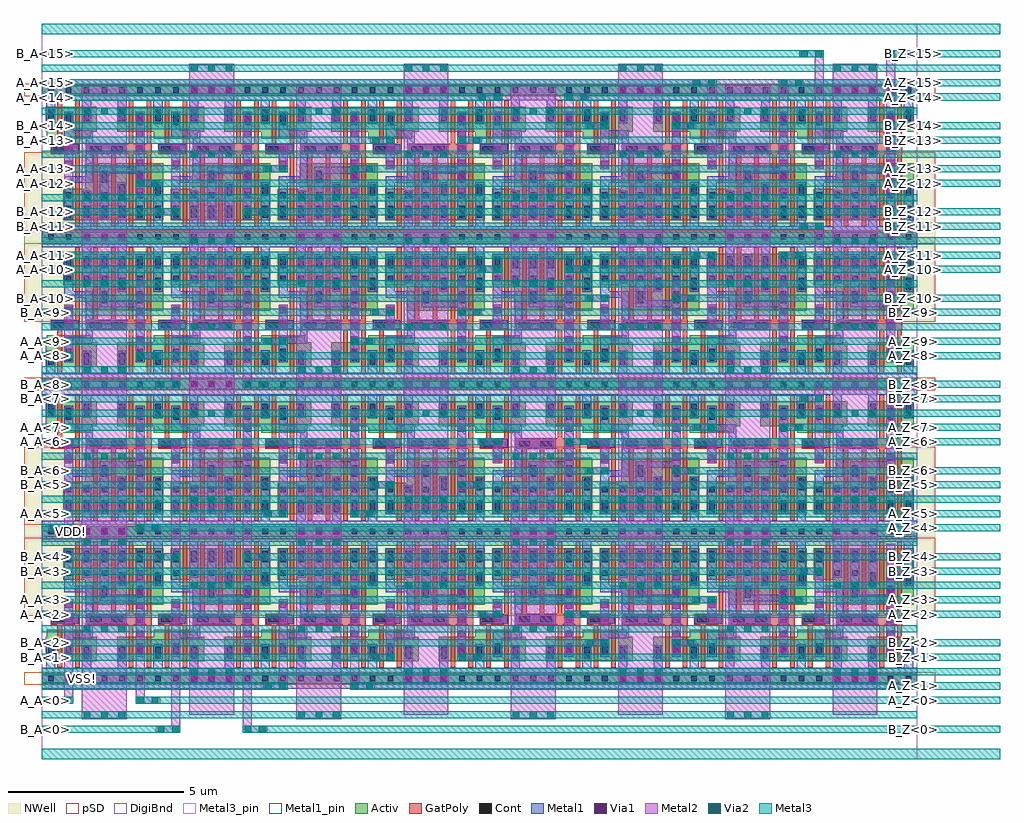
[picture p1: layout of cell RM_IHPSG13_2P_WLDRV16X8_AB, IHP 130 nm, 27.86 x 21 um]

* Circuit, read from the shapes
.subckt RM_IHPSG13_2P_WLDRV16X8_AB A_A<0> A_A<10> A_A<11> A_A<12> A_A<13> A_A<14> A_A<15> A_A<1> A_A<2> A_A<3> A_A<4> A_A<5> A_A<6> A_A<7> A_A<8> A_A<9> A_Z<0> A_Z<10> A_Z<11> A_Z<12> A_Z<13> A_Z<14> A_Z<15> A_Z<1> A_Z<2> A_Z<3> A_Z<4> A_Z<5> A_Z<6> A_Z<7> A_Z<8> A_Z<9> B_A<0> B_A<10> B_A<11> B_A<12> B_A<13> B_A<14> B_A<15> B_A<1> B_A<2> B_A<3> B_A<4> B_A<5> B_A<6> B_A<7> B_A<8> B_A<9> B_Z<0> B_Z<10> B_Z<11> B_Z<12> B_Z<13> B_Z<14> B_Z<15> B_Z<1> B_Z<2> B_Z<3> B_Z<4> B_Z<5> B_Z<6> B_Z<7> B_Z<8> B_Z<9> VDD! VSS!
XM1 n1 A_A<0> VSS! VSS! sg13_lv_nmos w=0.9u l=0.13u m=2
XM2 n2 A_A<4> VSS! VSS! sg13_lv_nmos w=0.9u l=0.13u m=2
XM3 n3 A_A<8> VSS! VSS! sg13_lv_nmos w=0.9u l=0.13u m=2
XM4 n4 A_A<12> VSS! VSS! sg13_lv_nmos w=0.9u l=0.13u m=2
XM5 A_Z<0> n1 VSS! VSS! sg13_lv_nmos w=0.705u l=0.13u m=2
XM6 A_Z<4> n2 VSS! VSS! sg13_lv_nmos w=0.705u l=0.13u m=2
XM7 A_Z<8> n3 VSS! VSS! sg13_lv_nmos w=0.705u l=0.13u m=2
XM8 A_Z<12> n4 VSS! VSS! sg13_lv_nmos w=0.705u l=0.13u m=2
XM9 n5 B_A<0> VSS! VSS! sg13_lv_nmos w=0.9u l=0.13u m=2
XM10 n6 B_A<4> VSS! VSS! sg13_lv_nmos w=0.9u l=0.13u m=2
XM11 n7 B_A<8> VSS! VSS! sg13_lv_nmos w=0.9u l=0.13u m=2
XM12 n8 B_A<12> VSS! VSS! sg13_lv_nmos w=0.9u l=0.13u m=2
XM13 B_Z<0> n5 VSS! VSS! sg13_lv_nmos w=0.705u l=0.13u m=2
XM14 B_Z<4> n6 VSS! VSS! sg13_lv_nmos w=0.705u l=0.13u m=2
XM15 B_Z<8> n7 VSS! VSS! sg13_lv_nmos w=0.705u l=0.13u m=2
XM16 B_Z<12> n8 VSS! VSS! sg13_lv_nmos w=0.705u l=0.13u m=2
XM17 n9 A_A<1> VSS! VSS! sg13_lv_nmos w=0.9u l=0.13u m=2
XM18 n10 A_A<5> VSS! VSS! sg13_lv_nmos w=0.9u l=0.13u m=2
XM19 n11 A_A<9> VSS! VSS! sg13_lv_nmos w=0.9u l=0.13u m=2
XM20 n12 A_A<13> VSS! VSS! sg13_lv_nmos w=0.9u l=0.13u m=2
XM21 A_Z<1> n9 VSS! VSS! sg13_lv_nmos w=0.705u l=0.13u m=2
XM22 A_Z<5> n10 VSS! VSS! sg13_lv_nmos w=0.705u l=0.13u m=2
XM23 A_Z<9> n11 VSS! VSS! sg13_lv_nmos w=0.705u l=0.13u m=2
XM24 A_Z<13> n12 VSS! VSS! sg13_lv_nmos w=0.705u l=0.13u m=2
XM25 n13 B_A<1> VSS! VSS! sg13_lv_nmos w=0.9u l=0.13u m=2
XM26 n14 B_A<5> VSS! VSS! sg13_lv_nmos w=0.9u l=0.13u m=2
XM27 n15 B_A<9> VSS! VSS! sg13_lv_nmos w=0.9u l=0.13u m=2
XM28 n16 B_A<13> VSS! VSS! sg13_lv_nmos w=0.9u l=0.13u m=2
XM29 B_Z<1> n13 VSS! VSS! sg13_lv_nmos w=0.705u l=0.13u m=2
XM30 B_Z<5> n14 VSS! VSS! sg13_lv_nmos w=0.705u l=0.13u m=2
XM31 B_Z<9> n15 VSS! VSS! sg13_lv_nmos w=0.705u l=0.13u m=2
XM32 B_Z<13> n16 VSS! VSS! sg13_lv_nmos w=0.705u l=0.13u m=2
XM33 n17 A_A<2> VSS! VSS! sg13_lv_nmos w=0.9u l=0.13u m=2
XM34 n18 A_A<6> VSS! VSS! sg13_lv_nmos w=0.9u l=0.13u m=2
XM35 n19 A_A<10> VSS! VSS! sg13_lv_nmos w=0.9u l=0.13u m=2
XM36 n20 A_A<14> VSS! VSS! sg13_lv_nmos w=0.9u l=0.13u m=2
XM37 A_Z<2> n17 VSS! VSS! sg13_lv_nmos w=0.705u l=0.13u m=2
XM38 A_Z<6> n18 VSS! VSS! sg13_lv_nmos w=0.705u l=0.13u m=2
XM39 A_Z<10> n19 VSS! VSS! sg13_lv_nmos w=0.705u l=0.13u m=2
XM40 A_Z<14> n20 VSS! VSS! sg13_lv_nmos w=0.705u l=0.13u m=2
XM41 n21 B_A<2> VSS! VSS! sg13_lv_nmos w=0.9u l=0.13u m=2
XM42 n22 B_A<6> VSS! VSS! sg13_lv_nmos w=0.9u l=0.13u m=2
XM43 n23 B_A<10> VSS! VSS! sg13_lv_nmos w=0.9u l=0.13u m=2
XM44 n24 B_A<14> VSS! VSS! sg13_lv_nmos w=0.9u l=0.13u m=2
XM45 B_Z<2> n21 VSS! VSS! sg13_lv_nmos w=0.705u l=0.13u m=2
XM46 B_Z<6> n22 VSS! VSS! sg13_lv_nmos w=0.705u l=0.13u m=2
XM47 B_Z<10> n23 VSS! VSS! sg13_lv_nmos w=0.705u l=0.13u m=2
XM48 B_Z<14> n24 VSS! VSS! sg13_lv_nmos w=0.705u l=0.13u m=2
XM49 n25 A_A<3> VSS! VSS! sg13_lv_nmos w=0.9u l=0.13u m=2
XM50 n26 A_A<7> VSS! VSS! sg13_lv_nmos w=0.9u l=0.13u m=2
XM51 n27 A_A<11> VSS! VSS! sg13_lv_nmos w=0.9u l=0.13u m=2
XM52 n28 A_A<15> VSS! VSS! sg13_lv_nmos w=0.9u l=0.13u m=2
XM53 A_Z<3> n25 VSS! VSS! sg13_lv_nmos w=0.705u l=0.13u m=2
XM54 A_Z<7> n26 VSS! VSS! sg13_lv_nmos w=0.705u l=0.13u m=2
XM55 A_Z<11> n27 VSS! VSS! sg13_lv_nmos w=0.705u l=0.13u m=2
XM56 A_Z<15> n28 VSS! VSS! sg13_lv_nmos w=0.705u l=0.13u m=2
XM57 n29 B_A<3> VSS! VSS! sg13_lv_nmos w=0.9u l=0.13u m=2
XM58 n30 B_A<7> VSS! VSS! sg13_lv_nmos w=0.9u l=0.13u m=2
XM59 n31 B_A<11> VSS! VSS! sg13_lv_nmos w=0.9u l=0.13u m=2
XM60 n32 B_A<15> VSS! VSS! sg13_lv_nmos w=0.9u l=0.13u m=2
XM61 B_Z<3> n29 VSS! VSS! sg13_lv_nmos w=0.705u l=0.13u m=2
XM62 B_Z<7> n30 VSS! VSS! sg13_lv_nmos w=0.705u l=0.13u m=2
XM63 B_Z<11> n31 VSS! VSS! sg13_lv_nmos w=0.705u l=0.13u m=2
XM64 B_Z<15> n32 VSS! VSS! sg13_lv_nmos w=0.705u l=0.13u m=2
XM65 VDD! A_A<0> n1 VDD! sg13_lv_pmos w=0.9u l=0.13u
XM66 VDD! A_A<4> n2 VDD! sg13_lv_pmos w=0.9u l=0.13u
XM67 VDD! A_A<8> n3 VDD! sg13_lv_pmos w=0.9u l=0.13u
XM68 VDD! A_A<12> n4 VDD! sg13_lv_pmos w=0.9u l=0.13u
XM69 A_Z<0> n1 VDD! VDD! sg13_lv_pmos w=1.62u l=0.13u m=4
XM70 A_Z<4> n2 VDD! VDD! sg13_lv_pmos w=1.62u l=0.13u m=4
XM71 A_Z<8> n3 VDD! VDD! sg13_lv_pmos w=1.62u l=0.13u m=4
XM72 A_Z<12> n4 VDD! VDD! sg13_lv_pmos w=1.62u l=0.13u m=4
XM73 VDD! B_A<0> n5 VDD! sg13_lv_pmos w=0.9u l=0.13u
XM74 VDD! B_A<4> n6 VDD! sg13_lv_pmos w=0.9u l=0.13u
XM75 VDD! B_A<8> n7 VDD! sg13_lv_pmos w=0.9u l=0.13u
XM76 VDD! B_A<12> n8 VDD! sg13_lv_pmos w=0.9u l=0.13u
XM77 B_Z<0> n5 VDD! VDD! sg13_lv_pmos w=1.62u l=0.13u m=4
XM78 B_Z<4> n6 VDD! VDD! sg13_lv_pmos w=1.62u l=0.13u m=4
XM79 B_Z<8> n7 VDD! VDD! sg13_lv_pmos w=1.62u l=0.13u m=4
XM80 B_Z<12> n8 VDD! VDD! sg13_lv_pmos w=1.62u l=0.13u m=4
XM81 VDD! A_A<1> n9 VDD! sg13_lv_pmos w=0.9u l=0.13u
XM82 VDD! A_A<5> n10 VDD! sg13_lv_pmos w=0.9u l=0.13u
XM83 VDD! A_A<9> n11 VDD! sg13_lv_pmos w=0.9u l=0.13u
XM84 VDD! A_A<13> n12 VDD! sg13_lv_pmos w=0.9u l=0.13u
XM85 A_Z<1> n9 VDD! VDD! sg13_lv_pmos w=1.62u l=0.13u m=4
XM86 A_Z<5> n10 VDD! VDD! sg13_lv_pmos w=1.62u l=0.13u m=4
XM87 A_Z<9> n11 VDD! VDD! sg13_lv_pmos w=1.62u l=0.13u m=4
XM88 A_Z<13> n12 VDD! VDD! sg13_lv_pmos w=1.62u l=0.13u m=4
XM89 VDD! B_A<1> n13 VDD! sg13_lv_pmos w=0.9u l=0.13u
XM90 VDD! B_A<5> n14 VDD! sg13_lv_pmos w=0.9u l=0.13u
XM91 VDD! B_A<9> n15 VDD! sg13_lv_pmos w=0.9u l=0.13u
XM92 VDD! B_A<13> n16 VDD! sg13_lv_pmos w=0.9u l=0.13u
XM93 B_Z<1> n13 VDD! VDD! sg13_lv_pmos w=1.62u l=0.13u m=4
XM94 B_Z<5> n14 VDD! VDD! sg13_lv_pmos w=1.62u l=0.13u m=4
XM95 B_Z<9> n15 VDD! VDD! sg13_lv_pmos w=1.62u l=0.13u m=4
XM96 B_Z<13> n16 VDD! VDD! sg13_lv_pmos w=1.62u l=0.13u m=4
XM97 VDD! A_A<2> n17 VDD! sg13_lv_pmos w=0.9u l=0.13u
XM98 VDD! A_A<6> n18 VDD! sg13_lv_pmos w=0.9u l=0.13u
XM99 VDD! A_A<10> n19 VDD! sg13_lv_pmos w=0.9u l=0.13u
XM100 VDD! A_A<14> n20 VDD! sg13_lv_pmos w=0.9u l=0.13u
XM101 A_Z<2> n17 VDD! VDD! sg13_lv_pmos w=1.62u l=0.13u m=4
XM102 A_Z<6> n18 VDD! VDD! sg13_lv_pmos w=1.62u l=0.13u m=4
XM103 A_Z<10> n19 VDD! VDD! sg13_lv_pmos w=1.62u l=0.13u m=4
XM104 A_Z<14> n20 VDD! VDD! sg13_lv_pmos w=1.62u l=0.13u m=4
XM105 VDD! B_A<2> n21 VDD! sg13_lv_pmos w=0.9u l=0.13u
XM106 VDD! B_A<6> n22 VDD! sg13_lv_pmos w=0.9u l=0.13u
XM107 VDD! B_A<10> n23 VDD! sg13_lv_pmos w=0.9u l=0.13u
XM108 VDD! B_A<14> n24 VDD! sg13_lv_pmos w=0.9u l=0.13u
XM109 B_Z<2> n21 VDD! VDD! sg13_lv_pmos w=1.62u l=0.13u m=4
XM110 B_Z<6> n22 VDD! VDD! sg13_lv_pmos w=1.62u l=0.13u m=4
XM111 B_Z<10> n23 VDD! VDD! sg13_lv_pmos w=1.62u l=0.13u m=4
XM112 B_Z<14> n24 VDD! VDD! sg13_lv_pmos w=1.62u l=0.13u m=4
XM113 VDD! A_A<3> n25 VDD! sg13_lv_pmos w=0.9u l=0.13u
XM114 VDD! A_A<7> n26 VDD! sg13_lv_pmos w=0.9u l=0.13u
XM115 VDD! A_A<11> n27 VDD! sg13_lv_pmos w=0.9u l=0.13u
XM116 VDD! A_A<15> n28 VDD! sg13_lv_pmos w=0.9u l=0.13u
XM117 A_Z<3> n25 VDD! VDD! sg13_lv_pmos w=1.62u l=0.13u m=4
XM118 A_Z<7> n26 VDD! VDD! sg13_lv_pmos w=1.62u l=0.13u m=4
XM119 A_Z<11> n27 VDD! VDD! sg13_lv_pmos w=1.62u l=0.13u m=4
XM120 A_Z<15> n28 VDD! VDD! sg13_lv_pmos w=1.62u l=0.13u m=4
XM121 VDD! B_A<3> n29 VDD! sg13_lv_pmos w=0.9u l=0.13u
XM122 VDD! B_A<7> n30 VDD! sg13_lv_pmos w=0.9u l=0.13u
XM123 VDD! B_A<11> n31 VDD! sg13_lv_pmos w=0.9u l=0.13u
XM124 VDD! B_A<15> n32 VDD! sg13_lv_pmos w=0.9u l=0.13u
XM125 B_Z<3> n29 VDD! VDD! sg13_lv_pmos w=1.62u l=0.13u m=4
XM126 B_Z<7> n30 VDD! VDD! sg13_lv_pmos w=1.62u l=0.13u m=4
XM127 B_Z<11> n31 VDD! VDD! sg13_lv_pmos w=1.62u l=0.13u m=4
XM128 B_Z<15> n32 VDD! VDD! sg13_lv_pmos w=1.62u l=0.13u m=4
.ends

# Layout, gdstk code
from math import pi, radians
import gdstk
lib = gdstk.Library(unit=1e-6, precision=1e-09)
def R(c, l, rs):  # rectangles x0, y0, x1, y1
    for r in rs: c.add(gdstk.rectangle(r[:2], r[2:], *l))
def A(c, l, x, y, w, h, nx, ny, dx, dy):  # array of equal rectangles
    R(c, l, [(x+i*dx, y+j*dy, x+i*dx+w, y+j*dy+h) for i in range(nx) for j in range(ny)])
def P(c, l, *ps):  # polygons
    for p in ps: c.add(gdstk.Polygon(p, *l))
Activ = (1, 0)
GatPoly = (5, 0)
Cont = (6, 0)
Metal1 = (8, 0)
Metal1_pin = (8, 2)
Metal2 = (10, 0)
pSD = (14, 0)
DigiBnd = (16, 0)
Via1 = (19, 0)
Via2 = (29, 0)
Metal3 = (30, 0)
Metal3_pin = (30, 2)
NWell = (31, 0)

rsc_ihpsg13_wldrvx8 = lib.new_cell('RSC_IHPSG13_WLDRVX8')
R(rsc_ihpsg13_wldrvx8, Activ, [(0,-0.15,3.57,0.15), (2.145,0.49,3.465,1.195), (0,4.05,3.57,4.35)])
P(rsc_ihpsg13_wldrvx8, Activ, [(1.235,2.1),(1.235,2.82),(0.615,2.82),(0.615,3.72),(3.465,3.72),(3.465,2.1)],
  [(0.105,0.49),(0.105,1.195),(0.135,1.195),(0.135,1.39),(1.395,1.39),(1.395,1.195),(1.57,1.195),(1.57,0.49)])
P(rsc_ihpsg13_wldrvx8, GatPoly, [(0.445,0.3),(0.445,1.54),(0.26,1.54),(0.26,1.84),(0.955,1.84),(0.955,3.9),(1.085,3.9),(1.085,0.3),(0.955,0.3),(0.955,1.54),(0.575,1.54),(0.575,0.3)],
  [(2.485,0.3),(2.485,1.54),(1.295,1.54),(1.295,1.84),(1.465,1.84),(1.465,3.9),(1.595,3.9),(1.595,1.84),(1.975,1.84),(1.975,3.9),(2.105,3.9),(2.105,1.84),(2.485,1.84),(2.485,3.9),(2.615,3.9),(2.615,1.84),(2.995,1.84),(2.995,3.9),(3.125,3.9),(3.125,1.84),(3.13,1.84),(3.13,1.54),(3.125,1.54),(3.125,0.3),(2.995,0.3),(2.995,1.54),(2.615,1.54),(2.615,0.3)])
A(rsc_ihpsg13_wldrvx8, Cont, 0.175, -0.08, 0.16, 0.16, 7, 2, 0.51, 4.2)
A(rsc_ihpsg13_wldrvx8, Cont, 0.175, 0.56, 0.16, 0.34, 4, 1, 1.02, 0)
A(rsc_ihpsg13_wldrvx8, Cont, 0.685, 2.93, 0.16, 0.16, 3, 1, 0.51, 0)
A(rsc_ihpsg13_wldrvx8, Cont, 0.685, 3.31, 0.16, 0.34, 6, 1, 0.51, 0)
R(rsc_ihpsg13_wldrvx8, Cont, [(0.685,0.67,0.845,1.01), (2.725,0.67,2.885,1.01), (0.33,1.61,0.67,1.77), (1.365,1.61,1.705,1.77), (1.985,1.61,2.325,1.77), (1.705,2.31,1.865,2.65), (2.725,2.31,2.885,2.65), (2.215,2.69,2.375,3.03), (3.235,2.69,3.395,3.03), (2.725,2.93,2.885,3.09)])
R(rsc_ihpsg13_wldrvx8, Metal1, [(2.675,0.62,2.935,1.35), (2.675,1.305,2.935,2.33), (0.28,1.56,1.05,1.82)])
P(rsc_ihpsg13_wldrvx8, Metal1, [(0.635,0.62),(0.635,1.35),(1.25,1.35),(1.25,2.46),(0.635,2.46),(0.635,3.7),(0.895,3.7),(0.895,2.65),(1.455,2.65),(1.455,1.83),(2.375,1.83),(2.375,1.56),(1.455,1.56),(1.455,1.15),(0.895,1.15),(0.895,0.62)],
  [(2.165,2.64),(2.165,3.9),(1.405,3.9),(1.405,2.88),(1.145,2.88),(1.145,3.9),(0,3.9),(0,4.5),(3.57,4.5),(3.57,3.9),(3.445,3.9),(3.445,2.64),(3.185,2.64),(3.185,3.9),(2.425,3.9),(2.425,2.64)],
  [(0,-0.3),(0,0.3),(0.125,0.3),(0.125,0.95),(0.385,0.95),(0.385,0.3),(1.145,0.3),(1.145,0.95),(1.405,0.95),(1.405,0.3),(2.165,0.3),(2.165,0.95),(2.425,0.95),(2.425,0.3),(3.185,0.3),(3.185,0.97),(3.445,0.97),(3.445,0.3),(3.57,0.3),(3.57,-0.3)],
  [(1.655,2.2),(1.655,3.7),(1.915,3.7),(1.915,2.39),(2.675,2.39),(2.675,3.7),(2.935,3.7),(2.935,2.2)])
R(rsc_ihpsg13_wldrvx8, Metal1_pin, [(0,-0.3,3.57,0.3), (2.675,0.62,2.935,3.7), (0.28,1.56,1.05,1.82), (0,3.9,3.57,4.5)])
R(rsc_ihpsg13_wldrvx8, pSD, [(-0.51,-0.18,4.08,0.18), (-0.51,1.785,4.08,4.02)])
R(rsc_ihpsg13_wldrvx8, DigiBnd, [(0,-0.3,3.57,4.5)])
R(rsc_ihpsg13_wldrvx8, NWell, [(-0.51,1.785,4.08,4.725)])
rsc_ihpsg13_wldrvx8.add(gdstk.Label('A', (0.51,1.695), layer=8, texttype=2))
rsc_ihpsg13_wldrvx8.add(gdstk.Label('Z', (2.806,1.995), layer=8, texttype=2))
rsc_ihpsg13_wldrvx8.add(gdstk.Label('VDD!', (0.84,4.2), layer=8, texttype=2))
rsc_ihpsg13_wldrvx8.add(gdstk.Label('VSS!', (1.155,0.005), layer=8, texttype=2))

m3_m2_cdns_7497214642810 = lib.new_cell('M3_M2_CDNS_7497214642810')
R(m3_m2_cdns_7497214642810, Metal2, [(-0.35,-0.1,0.35,0.1)])
R(m3_m2_cdns_7497214642810, Via2, [(-0.3,-0.095,-0.11,0.095), (0.11,-0.095,0.3,0.095)])
R(m3_m2_cdns_7497214642810, Metal3, [(-0.35,-0.1,0.35,0.1)])

m2_m1_cdns_749721464280 = lib.new_cell('M2_M1_CDNS_749721464280')
R(m2_m1_cdns_749721464280, Metal1, [(-0.35,-0.13,0.35,0.13)])
R(m2_m1_cdns_749721464280, Metal2, [(-0.35,-0.13,0.35,0.13)])
R(m2_m1_cdns_749721464280, Via1, [(-0.3,-0.095,-0.11,0.095), (0.11,-0.095,0.3,0.095)])

viagen12_cdns_7497214642 = lib.new_cell('viagen12_CDNS_7497214642866')
R(viagen12_cdns_7497214642, Metal1, [(-0.64,-0.13,0.64,0.13)])
R(viagen12_cdns_7497214642, Metal2, [(-0.64,-0.13,0.64,0.13)])
A(viagen12_cdns_7497214642, Via1, -0.59, -0.095, 0.19, 0.19, 3, 1, 0.495, 0)

c_viagen12_cdns_7497214642 = lib.new_cell('viagen12_CDNS_7497214642867')
R(c_viagen12_cdns_7497214642, Metal1, [(-1.17,-0.13,1.17,0.13)])
R(c_viagen12_cdns_7497214642, Metal2, [(-1.17,-0.13,1.17,0.13)])
A(c_viagen12_cdns_7497214642, Via1, -1.12, -0.095, 0.19, 0.19, 6, 1, 0.41, 0)

viagen23_cdns_7497214642 = lib.new_cell('viagen23_CDNS_7497214642868')
R(viagen23_cdns_7497214642, Metal2, [(-0.64,-0.13,0.64,0.13)])
A(viagen23_cdns_7497214642, Via2, -0.59, -0.095, 0.19, 0.19, 3, 1, 0.495, 0)
R(viagen23_cdns_7497214642, Metal3, [(-0.64,-0.1,0.64,0.1)])

rm_ihpsg13_2p_wldrv16x8_ = lib.new_cell('RM_IHPSG13_2P_WLDRV16X8_AB')
R(rm_ihpsg13_2p_wldrv16x8_, Metal1_pin, [(0,0.82,4.59,1.26), (0,4.935,4.59,5.535)])
A(rm_ihpsg13_2p_wldrv16x8_, Metal2, 1.145, 0, 1.28, 17.965, 4, 1, 6.12, 0)
A(rm_ihpsg13_2p_wldrv16x8_, Metal2, 4.205, 0, 1.28, 18.58, 4, 1, 6.12, 0)
R(rm_ihpsg13_2p_wldrv16x8_, Metal2, [(5.735,-0.485,5.995,2.315), (3.695,-0.345,3.955,2.855), (2.675,0.335,2.935,1.83), (0.635,0.475,0.895,2.85), (6.755,0.8,7.015,3.17), (8.795,0.8,9.055,3.17), (11.855,1.565,12.115,3.09), (9.815,1.59,10.075,3.17), (15.935,1.95,16.195,3.045), (8.795,2.215,9.055,2.67), (22.055,3.03,22.315,4.125), (24.095,3.91,24.355,4.88), (5.735,4.435,5.995,7.015), (3.695,4.595,3.955,7.41), (2.675,5.255,2.935,6.44), (0.635,5.415,0.895,7.43), (8.795,5.7,9.055,7.28), (6.755,5.735,7.015,8.27), (9.815,6.46,10.075,7.365), (11.855,6.835,12.115,7.7), (15.935,6.87,16.195,7.875), (17.975,6.895,18.235,8.245), (22.055,7.54,22.315,9.53), (14.915,7.865,15.175,8.095), (18.995,7.875,19.255,8.3), (24.095,8.535,24.355,9.505), (5.735,9.365,5.995,10.65), (3.695,9.46,3.955,11.055), (0.635,10.28,0.895,11.25), (6.755,10.56,7.015,11.21), (15.935,11.195,16.195,11.965), (18.995,11.255,19.255,13.22), (22.055,11.255,22.315,14.04), (12.875,11.615,13.135,12.81), (21.035,12.13,21.295,13.22), (24.095,12.165,24.355,13.985), (14.915,12.28,15.175,12.81), (5.735,14.305,5.995,14.87), (3.695,14.375,3.955,15.725), (0.635,15.195,0.895,15.83), (6.755,15.605,7.015,16.025), (12.875,15.76,13.135,17.73), (9.815,15.93,10.075,16.5), (22.055,16.06,22.315,18.91), (15.935,16.1,16.195,16.91), (18.995,16.18,19.255,18.14), (21.035,16.18,21.295,18.14), (24.095,16.4,24.355,18.96), (14.915,17.1,15.175,17.73)])
R(rm_ihpsg13_2p_wldrv16x8_, DigiBnd, [(0,-1.275,24.99,19.725)])
A(rm_ihpsg13_2p_wldrv16x8_, Metal3, 0, -0.1, 24.99, 0.2, 1, 8, 0, 2.46)
A(rm_ihpsg13_2p_wldrv16x8_, Metal3, 0, 0.31, 0.895, 0.2, 1, 4, 0, 4.92)
A(rm_ihpsg13_2p_wldrv16x8_, Metal3, 0, 1.13, 27.345, 0.2, 1, 8, 0, 2.46)
R(rm_ihpsg13_2p_wldrv16x8_, Metal3, [(0,-1.275,27.345,-0.975), (0,-0.51,3.955,-0.31), (6.25,-0.51,20.17,-0.31), (19.99,-0.51,27.345,-0.31), (0.185,0.31,0.895,0.51), (2.73,0.31,20.17,0.51), (20.005,0.31,27.345,0.51), (0,0.72,6.945,0.92), (9.1,0.72,20.17,0.92), (20.025,0.72,27.345,0.92), (0,1.54,10.005,1.74), (12.02,1.54,20.17,1.74), (20.05,1.54,27.345,1.74), (0,1.95,16.115,2.15), (18.38,1.95,20.17,2.15), (20.07,1.95,27.345,2.15), (0,2.77,12.955,2.97), (15.365,2.77,20.17,2.97), (20.055,2.77,27.345,2.97), (0,3.18,19.115,3.38), (21.085,3.18,27.345,3.38), (0,4,22.195,4.2), (24.095,4,27.345,4.2), (0,4.41,3.91,4.61), (6.36,4.41,9.505,4.61), (8.795,4.41,20.17,4.61), (20.045,4.41,27.345,4.61), (3.08,5.23,20.175,5.43), (20.075,5.23,27.345,5.43), (0,5.64,6.89,5.84), (9.145,5.64,20.17,5.84), (20.065,5.64,27.345,5.84), (0,6.46,10.02,6.66), (12.24,6.46,20.17,6.66), (20.03,6.46,27.345,6.66), (0,6.87,16.14,7.07), (18.13,6.87,20.17,7.07), (20.075,6.87,27.345,7.07), (0,7.69,13.055,7.89), (15.005,7.69,20.17,7.89), (20.08,7.69,27.345,7.89), (0,8.1,19.165,8.3), (21.14,8.1,27.345,8.3), (0,8.92,22.17,9.12), (24.14,8.92,27.345,9.12), (0,9.33,3.915,9.53), (6.17,9.33,20.455,9.53), (20.065,9.33,27.345,9.53), (2.68,10.15,20.18,10.35), (20.05,10.15,27.345,10.35), (0,10.56,6.925,10.76), (9.175,10.56,20.15,10.76), (20.03,10.56,27.345,10.76), (0,11.38,10.025,11.58), (11.87,11.38,20.145,11.58), (20,11.38,27.345,11.58), (0,11.79,16.155,11.99), (18.445,11.79,20.155,11.99), (20,11.79,27.345,11.99), (0,12.61,13.07,12.81), (15.04,12.61,23.81,12.81), (23.75,12.61,27.345,12.81), (0,13.02,19.18,13.22), (21.41,13.02,24.02,13.22), (23.795,13.02,27.345,13.22), (0,13.84,22.135,14.04), (24.12,13.84,27.345,14.04), (0,14.25,3.915,14.45), (5.975,14.25,21.01,14.45), (20.695,14.25,27.345,14.45), (3.03,15.07,20.95,15.27), (20.705,15.07,27.345,15.27), (0,15.48,6.98,15.68), (9,15.48,21.635,15.68), (20.71,15.48,27.345,15.68), (0,16.3,9.955,16.5), (12.035,16.3,21.64,16.5), (20.72,16.3,27.345,16.5), (0,16.71,16.1,16.91), (18,16.71,21.67,16.91), (20.74,16.71,27.345,16.91), (0,17.53,12.96,17.73), (15.04,17.53,21.67,17.73), (20.765,17.53,27.345,17.73), (0,17.94,19.2,18.14), (21.135,17.94,27.345,18.14), (0,18.76,21.13,18.96), (20.715,18.76,22.285,18.96), (24.19,18.76,27.345,18.96), (0,19.425,27.345,19.725)])
R(rm_ihpsg13_2p_wldrv16x8_, Metal3_pin, [(0,-0.51,0.2,-0.31), (24.78,-0.51,24.99,-0.31), (0,0.31,0.2,0.51), (24.78,0.31,24.99,0.51), (0,0.72,0.2,0.92), (24.78,0.72,24.99,0.92), (0,1.54,0.2,1.74), (24.78,1.54,24.99,1.74), (0,1.95,0.2,2.15), (24.78,1.95,24.99,2.15), (0,2.77,0.2,2.97), (24.78,2.77,24.99,2.97), (0,3.18,0.2,3.38), (24.78,3.18,24.99,3.38), (0,4,0.2,4.2), (24.78,4,24.99,4.2), (0,4.41,0.2,4.61), (24.78,4.41,24.99,4.61), (0,5.23,0.2,5.43), (24.78,5.23,24.99,5.43), (0,5.64,0.2,5.84), (24.78,5.64,24.99,5.84), (0,6.46,0.2,6.66), (24.78,6.46,24.99,6.66), (0,6.87,0.2,7.07), (24.78,6.87,24.99,7.07), (0,7.69,0.2,7.89), (24.78,7.69,24.99,7.89), (0,8.1,0.2,8.3), (24.78,8.1,24.99,8.3), (0,8.92,0.2,9.12), (24.78,8.92,24.99,9.12), (0,9.33,0.2,9.53), (24.78,9.33,24.99,9.53), (0,10.15,0.2,10.35), (24.78,10.15,24.99,10.35), (0,10.56,0.2,10.76), (24.78,10.56,24.99,10.76), (0,11.38,0.2,11.58), (24.78,11.38,24.99,11.58), (0,11.79,0.2,11.99), (24.78,11.79,24.99,11.99), (0,12.61,0.2,12.81), (24.78,12.61,24.99,12.81), (0,13.02,0.2,13.22), (24.78,13.02,24.99,13.22), (0,13.84,0.2,14.04), (24.78,13.84,24.99,14.04), (0,14.25,0.2,14.45), (24.78,14.25,24.99,14.45), (0,15.07,0.2,15.27), (24.78,15.07,24.99,15.27), (0,15.48,0.2,15.68), (24.78,15.48,24.99,15.68), (0,16.3,0.2,16.5), (24.78,16.3,24.99,16.5), (0,16.71,0.2,16.91), (24.78,16.71,24.99,16.91), (0,17.53,0.2,17.73), (24.78,17.53,24.99,17.73), (0,17.94,0.2,18.14), (24.78,17.94,24.99,18.14), (0,18.76,0.2,18.96), (24.78,18.76,24.99,18.96)])
r = gdstk.Reference(rsc_ihpsg13_wldrvx8, (0,17.835), x_reflection=True); r.repetition = gdstk.Repetition(4, 2, v1=(6.12,0), v2=(0,-8.4)); rm_ihpsg13_2p_wldrv16x8_.add(r)
r = gdstk.Reference(rsc_ihpsg13_wldrvx8, (3.06,17.835), x_reflection=True); r.repetition = gdstk.Repetition(4, 2, v1=(6.12,0), v2=(0,-8.4)); rm_ihpsg13_2p_wldrv16x8_.add(r)
r = gdstk.Reference(rsc_ihpsg13_wldrvx8, (3.06,1.035)); r.repetition = gdstk.Repetition(4, 2, v1=(6.12,0), v2=(0,8.4)); rm_ihpsg13_2p_wldrv16x8_.add(r)
r = gdstk.Reference(rsc_ihpsg13_wldrvx8, (0,1.035)); r.repetition = gdstk.Repetition(4, 2, v1=(6.12,0), v2=(0,8.4)); rm_ihpsg13_2p_wldrv16x8_.add(r)
rm_ihpsg13_2p_wldrv16x8_.add(gdstk.Reference(m3_m2_cdns_7497214642810, (12.785,7.79)))
rm_ihpsg13_2p_wldrv16x8_.add(gdstk.Reference(m3_m2_cdns_7497214642810, (12.785,2.87)))
rm_ihpsg13_2p_wldrv16x8_.add(gdstk.Reference(m3_m2_cdns_7497214642810, (12.785,17.63)))
rm_ihpsg13_2p_wldrv16x8_.add(gdstk.Reference(m3_m2_cdns_7497214642810, (12.205,16.4)))
rm_ihpsg13_2p_wldrv16x8_.add(gdstk.Reference(m3_m2_cdns_7497214642810, (12.205,11.48)))
rm_ihpsg13_2p_wldrv16x8_.add(gdstk.Reference(m3_m2_cdns_7497214642810, (12.205,6.56)))
rm_ihpsg13_2p_wldrv16x8_.add(gdstk.Reference(m3_m2_cdns_7497214642810, (12.785,12.71)))
rm_ihpsg13_2p_wldrv16x8_.add(gdstk.Reference(m3_m2_cdns_7497214642810, (12.205,1.64)))
rm_ihpsg13_2p_wldrv16x8_.add(gdstk.Reference(m3_m2_cdns_7497214642810, (18.905,13.12)))
rm_ihpsg13_2p_wldrv16x8_.add(gdstk.Reference(m3_m2_cdns_7497214642810, (21.385,18.04)))
rm_ihpsg13_2p_wldrv16x8_.add(gdstk.Reference(m3_m2_cdns_7497214642810, (18.905,18.04)))
rm_ihpsg13_2p_wldrv16x8_.add(gdstk.Reference(m3_m2_cdns_7497214642810, (18.325,11.89)))
rm_ihpsg13_2p_wldrv16x8_.add(gdstk.Reference(m3_m2_cdns_7497214642810, (18.325,16.81)))
rm_ihpsg13_2p_wldrv16x8_.add(gdstk.Reference(m3_m2_cdns_7497214642810, (15.845,16.81)))
rm_ihpsg13_2p_wldrv16x8_.add(gdstk.Reference(m3_m2_cdns_7497214642810, (15.265,17.63)))
rm_ihpsg13_2p_wldrv16x8_.add(gdstk.Reference(m3_m2_cdns_7497214642810, (15.265,12.71)))
rm_ihpsg13_2p_wldrv16x8_.add(gdstk.Reference(m3_m2_cdns_7497214642810, (15.845,11.89)))
rm_ihpsg13_2p_wldrv16x8_.add(gdstk.Reference(m3_m2_cdns_7497214642810, (24.445,18.86)))
rm_ihpsg13_2p_wldrv16x8_.add(gdstk.Reference(m3_m2_cdns_7497214642810, (21.965,18.86)))
rm_ihpsg13_2p_wldrv16x8_.add(gdstk.Reference(m3_m2_cdns_7497214642810, (21.385,13.12)))
rm_ihpsg13_2p_wldrv16x8_.add(gdstk.Reference(m3_m2_cdns_7497214642810, (21.965,13.94)))
rm_ihpsg13_2p_wldrv16x8_.add(gdstk.Reference(m3_m2_cdns_7497214642810, (24.445,13.94)))
rm_ihpsg13_2p_wldrv16x8_.add(gdstk.Reference(m2_m1_cdns_749721464280, (13.005,15.925), rotation=pi/2))
rm_ihpsg13_2p_wldrv16x8_.add(gdstk.Reference(m2_m1_cdns_749721464280, (22.185,15.925), rotation=pi/2))
rm_ihpsg13_2p_wldrv16x8_.add(gdstk.Reference(m2_m1_cdns_749721464280, (22.185,11.345), rotation=pi/2))
rm_ihpsg13_2p_wldrv16x8_.add(gdstk.Reference(m2_m1_cdns_749721464280, (19.125,15.925), rotation=pi/2))
rm_ihpsg13_2p_wldrv16x8_.add(gdstk.Reference(m2_m1_cdns_749721464280, (19.125,11.345), rotation=pi/2))
rm_ihpsg13_2p_wldrv16x8_.add(gdstk.Reference(m2_m1_cdns_749721464280, (16.065,15.925), rotation=pi/2))
rm_ihpsg13_2p_wldrv16x8_.add(gdstk.Reference(m2_m1_cdns_749721464280, (16.065,11.345), rotation=pi/2))
rm_ihpsg13_2p_wldrv16x8_.add(gdstk.Reference(m2_m1_cdns_749721464280, (13.005,11.345), rotation=pi/2))
rm_ihpsg13_2p_wldrv16x8_.add(gdstk.Reference(viagen12_cdns_7497214642, (14.025,13.635), rotation=pi))
rm_ihpsg13_2p_wldrv16x8_.add(gdstk.Reference(viagen12_cdns_7497214642, (17.085,9.435), rotation=pi))
rm_ihpsg13_2p_wldrv16x8_.add(gdstk.Reference(viagen12_cdns_7497214642, (17.085,17.835), rotation=pi))
rm_ihpsg13_2p_wldrv16x8_.add(gdstk.Reference(viagen12_cdns_7497214642, (20.145,13.635), rotation=pi))
rm_ihpsg13_2p_wldrv16x8_.add(gdstk.Reference(viagen12_cdns_7497214642, (23.205,9.435), rotation=pi))
rm_ihpsg13_2p_wldrv16x8_.add(gdstk.Reference(viagen12_cdns_7497214642, (23.205,17.835), rotation=pi))
rm_ihpsg13_2p_wldrv16x8_.add(gdstk.Reference(c_viagen12_cdns_7497214642, (24.225,15.955), rotation=pi/2))
rm_ihpsg13_2p_wldrv16x8_.add(gdstk.Reference(c_viagen12_cdns_7497214642, (24.225,11.315), rotation=pi/2))
rm_ihpsg13_2p_wldrv16x8_.add(gdstk.Reference(c_viagen12_cdns_7497214642, (21.165,15.955), rotation=pi/2))
rm_ihpsg13_2p_wldrv16x8_.add(gdstk.Reference(c_viagen12_cdns_7497214642, (21.165,11.315), rotation=pi/2))
rm_ihpsg13_2p_wldrv16x8_.add(gdstk.Reference(c_viagen12_cdns_7497214642, (18.105,15.955), rotation=pi/2))
rm_ihpsg13_2p_wldrv16x8_.add(gdstk.Reference(c_viagen12_cdns_7497214642, (18.105,11.315), rotation=pi/2))
rm_ihpsg13_2p_wldrv16x8_.add(gdstk.Reference(c_viagen12_cdns_7497214642, (15.045,15.955), rotation=pi/2))
rm_ihpsg13_2p_wldrv16x8_.add(gdstk.Reference(c_viagen12_cdns_7497214642, (15.045,11.315), rotation=pi/2))
rm_ihpsg13_2p_wldrv16x8_.add(gdstk.Reference(viagen23_cdns_7497214642, (17.085,18.45), rotation=pi))
rm_ihpsg13_2p_wldrv16x8_.add(gdstk.Reference(viagen23_cdns_7497214642, (17.085,15.99), rotation=pi))
rm_ihpsg13_2p_wldrv16x8_.add(gdstk.Reference(viagen23_cdns_7497214642, (17.085,13.53), rotation=pi))
rm_ihpsg13_2p_wldrv16x8_.add(gdstk.Reference(viagen23_cdns_7497214642, (17.085,11.07), rotation=pi))
rm_ihpsg13_2p_wldrv16x8_.add(gdstk.Reference(viagen23_cdns_7497214642, (23.205,18.45), rotation=pi))
rm_ihpsg13_2p_wldrv16x8_.add(gdstk.Reference(viagen23_cdns_7497214642, (23.205,15.99), rotation=pi))
rm_ihpsg13_2p_wldrv16x8_.add(gdstk.Reference(viagen23_cdns_7497214642, (23.205,13.53), rotation=pi))
rm_ihpsg13_2p_wldrv16x8_.add(gdstk.Reference(viagen23_cdns_7497214642, (23.205,11.07), rotation=pi))
rm_ihpsg13_2p_wldrv16x8_.add(gdstk.Reference(viagen23_cdns_7497214642, (14.025,12.3), rotation=pi))
rm_ihpsg13_2p_wldrv16x8_.add(gdstk.Reference(viagen23_cdns_7497214642, (14.025,14.76), rotation=pi))
rm_ihpsg13_2p_wldrv16x8_.add(gdstk.Reference(viagen23_cdns_7497214642, (20.145,17.22), rotation=pi))
rm_ihpsg13_2p_wldrv16x8_.add(gdstk.Reference(viagen23_cdns_7497214642, (20.145,12.3), rotation=pi))
rm_ihpsg13_2p_wldrv16x8_.add(gdstk.Reference(viagen23_cdns_7497214642, (20.145,9.84), rotation=pi))
rm_ihpsg13_2p_wldrv16x8_.add(gdstk.Reference(viagen23_cdns_7497214642, (20.145,14.76), rotation=pi))
rm_ihpsg13_2p_wldrv16x8_.add(gdstk.Reference(viagen23_cdns_7497214642, (14.025,17.22), rotation=pi))
rm_ihpsg13_2p_wldrv16x8_.add(gdstk.Reference(viagen23_cdns_7497214642, (14.025,9.84), rotation=pi))
rm_ihpsg13_2p_wldrv16x8_.add(gdstk.Reference(m3_m2_cdns_7497214642810, (9.725,16.4)))
rm_ihpsg13_2p_wldrv16x8_.add(gdstk.Reference(m3_m2_cdns_7497214642810, (9.145,15.58)))
rm_ihpsg13_2p_wldrv16x8_.add(gdstk.Reference(m3_m2_cdns_7497214642810, (9.145,10.66)))
rm_ihpsg13_2p_wldrv16x8_.add(gdstk.Reference(m3_m2_cdns_7497214642810, (6.085,14.35)))
rm_ihpsg13_2p_wldrv16x8_.add(gdstk.Reference(c_viagen12_cdns_7497214642, (2.805,11.315), rotation=pi/2))
rm_ihpsg13_2p_wldrv16x8_.add(gdstk.Reference(c_viagen12_cdns_7497214642, (2.805,15.955), rotation=pi/2))
rm_ihpsg13_2p_wldrv16x8_.add(gdstk.Reference(c_viagen12_cdns_7497214642, (5.865,11.315), rotation=pi/2))
rm_ihpsg13_2p_wldrv16x8_.add(gdstk.Reference(c_viagen12_cdns_7497214642, (5.865,15.955), rotation=pi/2))
rm_ihpsg13_2p_wldrv16x8_.add(gdstk.Reference(c_viagen12_cdns_7497214642, (8.925,11.315), rotation=pi/2))
rm_ihpsg13_2p_wldrv16x8_.add(gdstk.Reference(c_viagen12_cdns_7497214642, (11.985,15.955), rotation=pi/2))
rm_ihpsg13_2p_wldrv16x8_.add(gdstk.Reference(c_viagen12_cdns_7497214642, (11.985,11.315), rotation=pi/2))
rm_ihpsg13_2p_wldrv16x8_.add(gdstk.Reference(c_viagen12_cdns_7497214642, (8.925,15.955), rotation=pi/2))
rm_ihpsg13_2p_wldrv16x8_.add(gdstk.Reference(m2_m1_cdns_749721464280, (9.945,15.925), rotation=pi/2))
rm_ihpsg13_2p_wldrv16x8_.add(gdstk.Reference(m2_m1_cdns_749721464280, (6.885,15.925), rotation=pi/2))
rm_ihpsg13_2p_wldrv16x8_.add(gdstk.Reference(m2_m1_cdns_749721464280, (3.825,11.345), rotation=pi/2))
rm_ihpsg13_2p_wldrv16x8_.add(gdstk.Reference(m2_m1_cdns_749721464280, (6.885,11.345), rotation=pi/2))
rm_ihpsg13_2p_wldrv16x8_.add(gdstk.Reference(m2_m1_cdns_749721464280, (3.825,15.925), rotation=pi/2))
rm_ihpsg13_2p_wldrv16x8_.add(gdstk.Reference(m2_m1_cdns_749721464280, (9.945,11.345), rotation=pi/2))
rm_ihpsg13_2p_wldrv16x8_.add(gdstk.Reference(m2_m1_cdns_749721464280, (0.765,15.925), rotation=pi/2))
rm_ihpsg13_2p_wldrv16x8_.add(gdstk.Reference(m2_m1_cdns_749721464280, (0.765,11.345), rotation=pi/2))
rm_ihpsg13_2p_wldrv16x8_.add(gdstk.Reference(viagen23_cdns_7497214642, (10.965,18.45), rotation=pi))
rm_ihpsg13_2p_wldrv16x8_.add(gdstk.Reference(viagen23_cdns_7497214642, (10.965,15.99), rotation=pi))
rm_ihpsg13_2p_wldrv16x8_.add(gdstk.Reference(viagen23_cdns_7497214642, (10.965,13.53), rotation=pi))
rm_ihpsg13_2p_wldrv16x8_.add(gdstk.Reference(viagen23_cdns_7497214642, (10.965,11.07), rotation=pi))
rm_ihpsg13_2p_wldrv16x8_.add(gdstk.Reference(viagen23_cdns_7497214642, (1.785,14.76), rotation=pi))
rm_ihpsg13_2p_wldrv16x8_.add(gdstk.Reference(viagen23_cdns_7497214642, (1.785,12.3), rotation=pi))
rm_ihpsg13_2p_wldrv16x8_.add(gdstk.Reference(viagen23_cdns_7497214642, (1.785,17.22), rotation=pi))
rm_ihpsg13_2p_wldrv16x8_.add(gdstk.Reference(viagen23_cdns_7497214642, (1.785,9.84), rotation=pi))
rm_ihpsg13_2p_wldrv16x8_.add(gdstk.Reference(viagen23_cdns_7497214642, (7.905,14.76), rotation=pi))
rm_ihpsg13_2p_wldrv16x8_.add(gdstk.Reference(viagen23_cdns_7497214642, (7.905,17.22), rotation=pi))
rm_ihpsg13_2p_wldrv16x8_.add(gdstk.Reference(viagen23_cdns_7497214642, (7.905,9.84), rotation=pi))
rm_ihpsg13_2p_wldrv16x8_.add(gdstk.Reference(viagen23_cdns_7497214642, (7.905,12.3), rotation=pi))
rm_ihpsg13_2p_wldrv16x8_.add(gdstk.Reference(viagen23_cdns_7497214642, (4.845,11.07), rotation=pi))
rm_ihpsg13_2p_wldrv16x8_.add(gdstk.Reference(viagen23_cdns_7497214642, (4.845,13.53), rotation=pi))
rm_ihpsg13_2p_wldrv16x8_.add(gdstk.Reference(viagen23_cdns_7497214642, (4.845,15.99), rotation=pi))
rm_ihpsg13_2p_wldrv16x8_.add(gdstk.Reference(viagen23_cdns_7497214642, (4.845,18.45), rotation=pi))
rm_ihpsg13_2p_wldrv16x8_.add(gdstk.Reference(m3_m2_cdns_7497214642810, (3.605,14.35)))
rm_ihpsg13_2p_wldrv16x8_.add(gdstk.Reference(m3_m2_cdns_7497214642810, (6.085,9.43)))
rm_ihpsg13_2p_wldrv16x8_.add(gdstk.Reference(m3_m2_cdns_7497214642810, (3.025,15.17)))
rm_ihpsg13_2p_wldrv16x8_.add(gdstk.Reference(m3_m2_cdns_7497214642810, (3.025,10.25)))
rm_ihpsg13_2p_wldrv16x8_.add(gdstk.Reference(m3_m2_cdns_7497214642810, (0.545,10.25)))
rm_ihpsg13_2p_wldrv16x8_.add(gdstk.Reference(m3_m2_cdns_7497214642810, (0.545,15.17)))
rm_ihpsg13_2p_wldrv16x8_.add(gdstk.Reference(m3_m2_cdns_7497214642810, (9.725,11.48)))
rm_ihpsg13_2p_wldrv16x8_.add(gdstk.Reference(m3_m2_cdns_7497214642810, (6.665,10.66)))
rm_ihpsg13_2p_wldrv16x8_.add(gdstk.Reference(viagen12_cdns_7497214642, (1.785,13.635), rotation=pi))
rm_ihpsg13_2p_wldrv16x8_.add(gdstk.Reference(viagen12_cdns_7497214642, (10.965,9.435), rotation=pi))
rm_ihpsg13_2p_wldrv16x8_.add(gdstk.Reference(viagen12_cdns_7497214642, (7.905,13.635), rotation=pi))
rm_ihpsg13_2p_wldrv16x8_.add(gdstk.Reference(viagen12_cdns_7497214642, (4.845,17.835), rotation=pi))
rm_ihpsg13_2p_wldrv16x8_.add(gdstk.Reference(viagen12_cdns_7497214642, (4.845,9.435), rotation=pi))
rm_ihpsg13_2p_wldrv16x8_.add(gdstk.Reference(viagen12_cdns_7497214642, (10.965,17.835), rotation=pi))
rm_ihpsg13_2p_wldrv16x8_.add(gdstk.Reference(m3_m2_cdns_7497214642810, (3.605,9.43)))
rm_ihpsg13_2p_wldrv16x8_.add(gdstk.Reference(m3_m2_cdns_7497214642810, (6.665,15.58)))
rm_ihpsg13_2p_wldrv16x8_.add(gdstk.Reference(m2_m1_cdns_749721464280, (3.825,2.945), rotation=pi/2))
rm_ihpsg13_2p_wldrv16x8_.add(gdstk.Reference(m2_m1_cdns_749721464280, (0.765,2.945), rotation=pi/2))
rm_ihpsg13_2p_wldrv16x8_.add(gdstk.Reference(viagen23_cdns_7497214642, (1.785,0), rotation=pi))
rm_ihpsg13_2p_wldrv16x8_.add(gdstk.Reference(viagen23_cdns_7497214642, (4.845,8.61), rotation=pi))
rm_ihpsg13_2p_wldrv16x8_.add(gdstk.Reference(viagen23_cdns_7497214642, (4.845,6.15), rotation=pi))
rm_ihpsg13_2p_wldrv16x8_.add(gdstk.Reference(viagen23_cdns_7497214642, (4.845,3.69), rotation=pi))
rm_ihpsg13_2p_wldrv16x8_.add(gdstk.Reference(viagen23_cdns_7497214642, (10.965,1.23), rotation=pi))
rm_ihpsg13_2p_wldrv16x8_.add(gdstk.Reference(viagen23_cdns_7497214642, (10.965,8.61), rotation=pi))
rm_ihpsg13_2p_wldrv16x8_.add(gdstk.Reference(viagen23_cdns_7497214642, (7.905,2.46), rotation=pi))
rm_ihpsg13_2p_wldrv16x8_.add(gdstk.Reference(viagen23_cdns_7497214642, (7.905,7.38), rotation=pi))
rm_ihpsg13_2p_wldrv16x8_.add(gdstk.Reference(viagen23_cdns_7497214642, (10.965,6.15), rotation=pi))
rm_ihpsg13_2p_wldrv16x8_.add(gdstk.Reference(viagen23_cdns_7497214642, (10.965,3.69), rotation=pi))
rm_ihpsg13_2p_wldrv16x8_.add(gdstk.Reference(viagen23_cdns_7497214642, (7.905,0), rotation=pi))
rm_ihpsg13_2p_wldrv16x8_.add(gdstk.Reference(viagen23_cdns_7497214642, (1.785,4.92), rotation=pi))
rm_ihpsg13_2p_wldrv16x8_.add(gdstk.Reference(viagen23_cdns_7497214642, (1.785,7.38), rotation=pi))
rm_ihpsg13_2p_wldrv16x8_.add(gdstk.Reference(viagen23_cdns_7497214642, (4.845,1.23), rotation=pi))
rm_ihpsg13_2p_wldrv16x8_.add(gdstk.Reference(viagen23_cdns_7497214642, (7.905,4.92), rotation=pi))
rm_ihpsg13_2p_wldrv16x8_.add(gdstk.Reference(viagen23_cdns_7497214642, (1.785,2.46), rotation=pi))
rm_ihpsg13_2p_wldrv16x8_.add(gdstk.Reference(m2_m1_cdns_749721464280, (9.945,2.945), rotation=pi/2))
rm_ihpsg13_2p_wldrv16x8_.add(gdstk.Reference(m2_m1_cdns_749721464280, (6.885,7.525), rotation=pi/2))
rm_ihpsg13_2p_wldrv16x8_.add(gdstk.Reference(m2_m1_cdns_749721464280, (6.885,2.945), rotation=pi/2))
rm_ihpsg13_2p_wldrv16x8_.add(gdstk.Reference(m2_m1_cdns_749721464280, (9.945,7.525), rotation=pi/2))
rm_ihpsg13_2p_wldrv16x8_.add(gdstk.Reference(m3_m2_cdns_7497214642810, (6.665,5.74)))
rm_ihpsg13_2p_wldrv16x8_.add(gdstk.Reference(m3_m2_cdns_7497214642810, (9.145,0.82)))
rm_ihpsg13_2p_wldrv16x8_.add(gdstk.Reference(m3_m2_cdns_7497214642810, (6.665,0.82)))
rm_ihpsg13_2p_wldrv16x8_.add(gdstk.Reference(m3_m2_cdns_7497214642810, (3.605,-0.41)))
rm_ihpsg13_2p_wldrv16x8_.add(gdstk.Reference(m3_m2_cdns_7497214642810, (6.085,-0.41)))
rm_ihpsg13_2p_wldrv16x8_.add(gdstk.Reference(m3_m2_cdns_7497214642810, (6.085,4.51)))
rm_ihpsg13_2p_wldrv16x8_.add(gdstk.Reference(c_viagen12_cdns_7497214642, (8.925,2.915), rotation=pi/2))
rm_ihpsg13_2p_wldrv16x8_.add(gdstk.Reference(c_viagen12_cdns_7497214642, (8.925,7.555), rotation=pi/2))
rm_ihpsg13_2p_wldrv16x8_.add(gdstk.Reference(c_viagen12_cdns_7497214642, (5.865,2.915), rotation=pi/2))
rm_ihpsg13_2p_wldrv16x8_.add(gdstk.Reference(c_viagen12_cdns_7497214642, (11.985,2.915), rotation=pi/2))
rm_ihpsg13_2p_wldrv16x8_.add(gdstk.Reference(c_viagen12_cdns_7497214642, (11.985,7.555), rotation=pi/2))
rm_ihpsg13_2p_wldrv16x8_.add(gdstk.Reference(c_viagen12_cdns_7497214642, (2.805,2.915), rotation=pi/2))
rm_ihpsg13_2p_wldrv16x8_.add(gdstk.Reference(c_viagen12_cdns_7497214642, (2.805,7.555), rotation=pi/2))
rm_ihpsg13_2p_wldrv16x8_.add(gdstk.Reference(c_viagen12_cdns_7497214642, (5.865,7.555), rotation=pi/2))
rm_ihpsg13_2p_wldrv16x8_.add(gdstk.Reference(m3_m2_cdns_7497214642810, (3.605,4.51)))
rm_ihpsg13_2p_wldrv16x8_.add(gdstk.Reference(m3_m2_cdns_7497214642810, (0.545,5.33)))
rm_ihpsg13_2p_wldrv16x8_.add(gdstk.Reference(m3_m2_cdns_7497214642810, (3.025,0.41)))
rm_ihpsg13_2p_wldrv16x8_.add(gdstk.Reference(m3_m2_cdns_7497214642810, (0.545,0.41)))
rm_ihpsg13_2p_wldrv16x8_.add(gdstk.Reference(m3_m2_cdns_7497214642810, (3.025,5.33)))
rm_ihpsg13_2p_wldrv16x8_.add(gdstk.Reference(m3_m2_cdns_7497214642810, (9.725,6.56)))
rm_ihpsg13_2p_wldrv16x8_.add(gdstk.Reference(m3_m2_cdns_7497214642810, (9.725,1.64)))
rm_ihpsg13_2p_wldrv16x8_.add(gdstk.Reference(m3_m2_cdns_7497214642810, (9.145,5.74)))
rm_ihpsg13_2p_wldrv16x8_.add(gdstk.Reference(m2_m1_cdns_749721464280, (0.765,7.525), rotation=pi/2))
rm_ihpsg13_2p_wldrv16x8_.add(gdstk.Reference(m2_m1_cdns_749721464280, (3.825,7.525), rotation=pi/2))
rm_ihpsg13_2p_wldrv16x8_.add(gdstk.Reference(viagen12_cdns_7497214642, (10.965,1.035), rotation=pi))
rm_ihpsg13_2p_wldrv16x8_.add(gdstk.Reference(viagen12_cdns_7497214642, (7.905,5.235), rotation=pi))
rm_ihpsg13_2p_wldrv16x8_.add(gdstk.Reference(viagen12_cdns_7497214642, (4.845,1.035), rotation=pi))
rm_ihpsg13_2p_wldrv16x8_.add(gdstk.Reference(viagen12_cdns_7497214642, (1.785,5.235), rotation=pi))
rm_ihpsg13_2p_wldrv16x8_.add(gdstk.Reference(viagen23_cdns_7497214642, (14.025,7.38), rotation=pi))
rm_ihpsg13_2p_wldrv16x8_.add(gdstk.Reference(viagen23_cdns_7497214642, (14.025,2.46), rotation=pi))
rm_ihpsg13_2p_wldrv16x8_.add(gdstk.Reference(m2_m1_cdns_749721464280, (22.185,7.525), rotation=pi/2))
rm_ihpsg13_2p_wldrv16x8_.add(gdstk.Reference(m2_m1_cdns_749721464280, (16.065,7.525), rotation=pi/2))
rm_ihpsg13_2p_wldrv16x8_.add(gdstk.Reference(c_viagen12_cdns_7497214642, (18.105,7.555), rotation=pi/2))
rm_ihpsg13_2p_wldrv16x8_.add(gdstk.Reference(c_viagen12_cdns_7497214642, (18.105,2.915), rotation=pi/2))
rm_ihpsg13_2p_wldrv16x8_.add(gdstk.Reference(c_viagen12_cdns_7497214642, (24.225,2.915), rotation=pi/2))
rm_ihpsg13_2p_wldrv16x8_.add(gdstk.Reference(c_viagen12_cdns_7497214642, (24.225,7.555), rotation=pi/2))
rm_ihpsg13_2p_wldrv16x8_.add(gdstk.Reference(c_viagen12_cdns_7497214642, (21.165,7.555), rotation=pi/2))
rm_ihpsg13_2p_wldrv16x8_.add(gdstk.Reference(c_viagen12_cdns_7497214642, (21.165,2.915), rotation=pi/2))
rm_ihpsg13_2p_wldrv16x8_.add(gdstk.Reference(c_viagen12_cdns_7497214642, (15.045,2.915), rotation=pi/2))
rm_ihpsg13_2p_wldrv16x8_.add(gdstk.Reference(c_viagen12_cdns_7497214642, (15.045,7.555), rotation=pi/2))
rm_ihpsg13_2p_wldrv16x8_.add(gdstk.Reference(m2_m1_cdns_749721464280, (13.005,2.945), rotation=pi/2))
rm_ihpsg13_2p_wldrv16x8_.add(gdstk.Reference(m2_m1_cdns_749721464280, (22.185,2.945), rotation=pi/2))
rm_ihpsg13_2p_wldrv16x8_.add(gdstk.Reference(m2_m1_cdns_749721464280, (16.065,2.945), rotation=pi/2))
rm_ihpsg13_2p_wldrv16x8_.add(gdstk.Reference(m2_m1_cdns_749721464280, (19.125,7.525), rotation=pi/2))
rm_ihpsg13_2p_wldrv16x8_.add(gdstk.Reference(m3_m2_cdns_7497214642810, (15.265,2.87)))
rm_ihpsg13_2p_wldrv16x8_.add(gdstk.Reference(m3_m2_cdns_7497214642810, (18.325,2.05)))
rm_ihpsg13_2p_wldrv16x8_.add(gdstk.Reference(viagen12_cdns_7497214642, (14.025,5.235), rotation=pi))
rm_ihpsg13_2p_wldrv16x8_.add(gdstk.Reference(viagen12_cdns_7497214642, (23.205,1.035), rotation=pi))
rm_ihpsg13_2p_wldrv16x8_.add(gdstk.Reference(viagen12_cdns_7497214642, (17.085,1.035), rotation=pi))
rm_ihpsg13_2p_wldrv16x8_.add(gdstk.Reference(viagen12_cdns_7497214642, (20.145,5.235), rotation=pi))
rm_ihpsg13_2p_wldrv16x8_.add(gdstk.Reference(m3_m2_cdns_7497214642810, (18.905,8.2)))
rm_ihpsg13_2p_wldrv16x8_.add(gdstk.Reference(m3_m2_cdns_7497214642810, (21.385,8.2)))
rm_ihpsg13_2p_wldrv16x8_.add(gdstk.Reference(m3_m2_cdns_7497214642810, (18.905,3.28)))
rm_ihpsg13_2p_wldrv16x8_.add(gdstk.Reference(m3_m2_cdns_7497214642810, (21.385,3.28)))
rm_ihpsg13_2p_wldrv16x8_.add(gdstk.Reference(m3_m2_cdns_7497214642810, (15.845,2.05)))
rm_ihpsg13_2p_wldrv16x8_.add(gdstk.Reference(m3_m2_cdns_7497214642810, (15.845,6.97)))
rm_ihpsg13_2p_wldrv16x8_.add(gdstk.Reference(m3_m2_cdns_7497214642810, (18.325,6.97)))
rm_ihpsg13_2p_wldrv16x8_.add(gdstk.Reference(m3_m2_cdns_7497214642810, (21.965,9.02)))
rm_ihpsg13_2p_wldrv16x8_.add(gdstk.Reference(m3_m2_cdns_7497214642810, (24.445,9.02)))
rm_ihpsg13_2p_wldrv16x8_.add(gdstk.Reference(m3_m2_cdns_7497214642810, (21.965,4.1)))
rm_ihpsg13_2p_wldrv16x8_.add(gdstk.Reference(m3_m2_cdns_7497214642810, (24.445,4.1)))
rm_ihpsg13_2p_wldrv16x8_.add(gdstk.Reference(m3_m2_cdns_7497214642810, (15.265,7.79)))
rm_ihpsg13_2p_wldrv16x8_.add(gdstk.Reference(m2_m1_cdns_749721464280, (13.005,7.525), rotation=pi/2))
rm_ihpsg13_2p_wldrv16x8_.add(gdstk.Reference(m2_m1_cdns_749721464280, (19.125,2.945), rotation=pi/2))
rm_ihpsg13_2p_wldrv16x8_.add(gdstk.Reference(viagen23_cdns_7497214642, (20.145,0), rotation=pi))
rm_ihpsg13_2p_wldrv16x8_.add(gdstk.Reference(viagen23_cdns_7497214642, (20.145,4.92), rotation=pi))
rm_ihpsg13_2p_wldrv16x8_.add(gdstk.Reference(viagen23_cdns_7497214642, (14.025,0), rotation=pi))
rm_ihpsg13_2p_wldrv16x8_.add(gdstk.Reference(viagen23_cdns_7497214642, (23.205,1.23), rotation=pi))
rm_ihpsg13_2p_wldrv16x8_.add(gdstk.Reference(viagen23_cdns_7497214642, (14.025,4.92), rotation=pi))
rm_ihpsg13_2p_wldrv16x8_.add(gdstk.Reference(viagen23_cdns_7497214642, (23.205,3.69), rotation=pi))
rm_ihpsg13_2p_wldrv16x8_.add(gdstk.Reference(viagen23_cdns_7497214642, (23.205,6.15), rotation=pi))
rm_ihpsg13_2p_wldrv16x8_.add(gdstk.Reference(viagen23_cdns_7497214642, (23.205,8.61), rotation=pi))
rm_ihpsg13_2p_wldrv16x8_.add(gdstk.Reference(viagen23_cdns_7497214642, (20.145,7.38), rotation=pi))
rm_ihpsg13_2p_wldrv16x8_.add(gdstk.Reference(viagen23_cdns_7497214642, (17.085,1.23), rotation=pi))
rm_ihpsg13_2p_wldrv16x8_.add(gdstk.Reference(viagen23_cdns_7497214642, (17.085,3.69), rotation=pi))
rm_ihpsg13_2p_wldrv16x8_.add(gdstk.Reference(viagen23_cdns_7497214642, (17.085,6.15), rotation=pi))
rm_ihpsg13_2p_wldrv16x8_.add(gdstk.Reference(viagen23_cdns_7497214642, (20.145,2.46), rotation=pi))
rm_ihpsg13_2p_wldrv16x8_.add(gdstk.Reference(viagen23_cdns_7497214642, (17.085,8.61), rotation=pi))
rm_ihpsg13_2p_wldrv16x8_.add(gdstk.Label('VSS!', (1.155,1.035), layer=8, texttype=2))
rm_ihpsg13_2p_wldrv16x8_.add(gdstk.Label('VDD!', (0.84,5.235), layer=8, texttype=2))
rm_ihpsg13_2p_wldrv16x8_.add(gdstk.Label('A_Z<9>', (24.885,10.66), layer=30, texttype=25))
rm_ihpsg13_2p_wldrv16x8_.add(gdstk.Label('A_Z<3>', (24.885,3.28), layer=30, texttype=25))
rm_ihpsg13_2p_wldrv16x8_.add(gdstk.Label('B_Z<11>', (24.885,13.94), layer=30, texttype=25))
rm_ihpsg13_2p_wldrv16x8_.add(gdstk.Label('B_Z<3>', (24.885,4.1), layer=30, texttype=25))
rm_ihpsg13_2p_wldrv16x8_.add(gdstk.Label('A_Z<11>', (24.885,13.12), layer=30, texttype=25))
rm_ihpsg13_2p_wldrv16x8_.add(gdstk.Label('A_Z<13>', (24.885,15.58), layer=30, texttype=25))
rm_ihpsg13_2p_wldrv16x8_.add(gdstk.Label('B_Z<4>', (24.885,4.51), layer=30, texttype=25))
rm_ihpsg13_2p_wldrv16x8_.add(gdstk.Label('B_Z<2>', (24.885,2.05), layer=30, texttype=25))
rm_ihpsg13_2p_wldrv16x8_.add(gdstk.Label('B_Z<9>', (24.885,11.48), layer=30, texttype=25))
rm_ihpsg13_2p_wldrv16x8_.add(gdstk.Label('B_Z<5>', (24.885,6.56), layer=30, texttype=25))
rm_ihpsg13_2p_wldrv16x8_.add(gdstk.Label('A_Z<7>', (24.885,8.2), layer=30, texttype=25))
rm_ihpsg13_2p_wldrv16x8_.add(gdstk.Label('B_Z<10>', (24.885,11.89), layer=30, texttype=25))
rm_ihpsg13_2p_wldrv16x8_.add(gdstk.Label('B_Z<6>', (24.885,6.97), layer=30, texttype=25))
rm_ihpsg13_2p_wldrv16x8_.add(gdstk.Label('B_Z<7>', (24.885,9.02), layer=30, texttype=25))
rm_ihpsg13_2p_wldrv16x8_.add(gdstk.Label('A_Z<0>', (24.885,0.4), layer=30, texttype=25))
rm_ihpsg13_2p_wldrv16x8_.add(gdstk.Label('B_Z<8>', (24.885,9.43), layer=30, texttype=25))
rm_ihpsg13_2p_wldrv16x8_.add(gdstk.Label('B_Z<12>', (24.885,14.35), layer=30, texttype=25))
rm_ihpsg13_2p_wldrv16x8_.add(gdstk.Label('B_Z<1>', (24.885,1.64), layer=30, texttype=25))
rm_ihpsg13_2p_wldrv16x8_.add(gdstk.Label('A_Z<1>', (24.885,0.82), layer=30, texttype=25))
rm_ihpsg13_2p_wldrv16x8_.add(gdstk.Label('A_Z<5>', (24.885,5.74), layer=30, texttype=25))
rm_ihpsg13_2p_wldrv16x8_.add(gdstk.Label('A_Z<8>', (24.885,10.25), layer=30, texttype=25))
rm_ihpsg13_2p_wldrv16x8_.add(gdstk.Label('A_Z<6>', (24.885,7.79), layer=30, texttype=25))
rm_ihpsg13_2p_wldrv16x8_.add(gdstk.Label('A_Z<10>', (24.885,12.71), layer=30, texttype=25))
rm_ihpsg13_2p_wldrv16x8_.add(gdstk.Label('A_Z<2>', (24.885,2.87), layer=30, texttype=25))
rm_ihpsg13_2p_wldrv16x8_.add(gdstk.Label('B_Z<15>', (24.885,18.86), layer=30, texttype=25))
rm_ihpsg13_2p_wldrv16x8_.add(gdstk.Label('B_Z<13>', (24.885,16.4), layer=30, texttype=25))
rm_ihpsg13_2p_wldrv16x8_.add(gdstk.Label('A_Z<12>', (24.885,15.17), layer=30, texttype=25))
rm_ihpsg13_2p_wldrv16x8_.add(gdstk.Label('A_Z<4>', (24.885,5.33), layer=30, texttype=25))
rm_ihpsg13_2p_wldrv16x8_.add(gdstk.Label('B_Z<14>', (24.885,16.81), layer=30, texttype=25))
rm_ihpsg13_2p_wldrv16x8_.add(gdstk.Label('B_Z<0>', (24.885,-0.42), layer=30, texttype=25))
rm_ihpsg13_2p_wldrv16x8_.add(gdstk.Label('A_Z<14>', (24.885,17.63), layer=30, texttype=25))
rm_ihpsg13_2p_wldrv16x8_.add(gdstk.Label('A_Z<15>', (24.885,18.04), layer=30, texttype=25))
rm_ihpsg13_2p_wldrv16x8_.add(gdstk.Label('A_A<12>', (0.105,15.17), layer=30, texttype=25))
rm_ihpsg13_2p_wldrv16x8_.add(gdstk.Label('A_A<8>', (0.105,10.25), layer=30, texttype=25))
rm_ihpsg13_2p_wldrv16x8_.add(gdstk.Label('A_A<4>', (0.105,5.33), layer=30, texttype=25))
rm_ihpsg13_2p_wldrv16x8_.add(gdstk.Label('A_A<0>', (0.105,0.4), layer=30, texttype=25))
rm_ihpsg13_2p_wldrv16x8_.add(gdstk.Label('B_A<3>', (0.105,4.1), layer=30, texttype=25))
rm_ihpsg13_2p_wldrv16x8_.add(gdstk.Label('B_A<15>', (0.105,18.86), layer=30, texttype=25))
rm_ihpsg13_2p_wldrv16x8_.add(gdstk.Label('B_A<11>', (0.105,13.94), layer=30, texttype=25))
rm_ihpsg13_2p_wldrv16x8_.add(gdstk.Label('B_A<7>', (0.105,9.02), layer=30, texttype=25))
rm_ihpsg13_2p_wldrv16x8_.add(gdstk.Label('A_A<15>', (0.105,18.04), layer=30, texttype=25))
rm_ihpsg13_2p_wldrv16x8_.add(gdstk.Label('A_A<11>', (0.105,13.12), layer=30, texttype=25))
rm_ihpsg13_2p_wldrv16x8_.add(gdstk.Label('A_A<7>', (0.105,8.2), layer=30, texttype=25))
rm_ihpsg13_2p_wldrv16x8_.add(gdstk.Label('A_A<3>', (0.105,3.28), layer=30, texttype=25))
rm_ihpsg13_2p_wldrv16x8_.add(gdstk.Label('B_A<2>', (0.105,2.05), layer=30, texttype=25))
rm_ihpsg13_2p_wldrv16x8_.add(gdstk.Label('B_A<14>', (0.105,16.81), layer=30, texttype=25))
rm_ihpsg13_2p_wldrv16x8_.add(gdstk.Label('B_A<10>', (0.105,11.89), layer=30, texttype=25))
rm_ihpsg13_2p_wldrv16x8_.add(gdstk.Label('B_A<6>', (0.105,6.97), layer=30, texttype=25))
rm_ihpsg13_2p_wldrv16x8_.add(gdstk.Label('A_A<14>', (0.105,17.63), layer=30, texttype=25))
rm_ihpsg13_2p_wldrv16x8_.add(gdstk.Label('A_A<10>', (0.105,12.71), layer=30, texttype=25))
rm_ihpsg13_2p_wldrv16x8_.add(gdstk.Label('A_A<6>', (0.105,7.79), layer=30, texttype=25))
rm_ihpsg13_2p_wldrv16x8_.add(gdstk.Label('A_A<2>', (0.105,2.87), layer=30, texttype=25))
rm_ihpsg13_2p_wldrv16x8_.add(gdstk.Label('B_A<1>', (0.105,1.64), layer=30, texttype=25))
rm_ihpsg13_2p_wldrv16x8_.add(gdstk.Label('B_A<13>', (0.105,16.4), layer=30, texttype=25))
rm_ihpsg13_2p_wldrv16x8_.add(gdstk.Label('B_A<9>', (0.105,11.48), layer=30, texttype=25))
rm_ihpsg13_2p_wldrv16x8_.add(gdstk.Label('B_A<5>', (0.105,6.56), layer=30, texttype=25))
rm_ihpsg13_2p_wldrv16x8_.add(gdstk.Label('A_A<13>', (0.105,15.58), layer=30, texttype=25))
rm_ihpsg13_2p_wldrv16x8_.add(gdstk.Label('A_A<9>', (0.105,10.66), layer=30, texttype=25))
rm_ihpsg13_2p_wldrv16x8_.add(gdstk.Label('A_A<5>', (0.105,5.74), layer=30, texttype=25))
rm_ihpsg13_2p_wldrv16x8_.add(gdstk.Label('A_A<1>', (0.105,0.82), layer=30, texttype=25))
rm_ihpsg13_2p_wldrv16x8_.add(gdstk.Label('B_A<12>', (0.105,14.35), layer=30, texttype=25))
rm_ihpsg13_2p_wldrv16x8_.add(gdstk.Label('B_A<8>', (0.105,9.43), layer=30, texttype=25))
rm_ihpsg13_2p_wldrv16x8_.add(gdstk.Label('B_A<4>', (0.105,4.51), layer=30, texttype=25))
rm_ihpsg13_2p_wldrv16x8_.add(gdstk.Label('B_A<0>', (0.105,-0.42), layer=30, texttype=25))

lib.write_gds('RM_IHPSG13_2P_WLDRV16X8_AB.gds')
